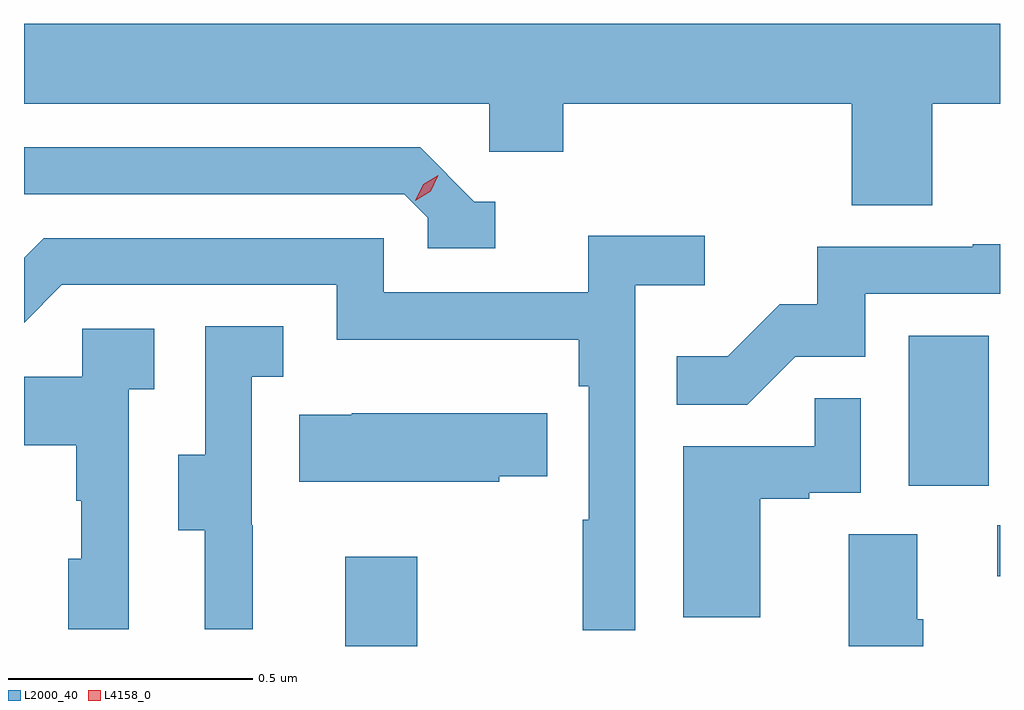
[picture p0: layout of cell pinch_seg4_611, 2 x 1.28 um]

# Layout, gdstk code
import gdstk
lib = gdstk.Library(unit=1e-6, precision=1e-09)
def R(c, l, rs):  # rectangles x0, y0, x1, y1
    for r in rs: c.add(gdstk.rectangle(r[:2], r[2:], *l))
def P(c, l, *ps):  # polygons
    for p in ps: c.add(gdstk.Polygon(p, *l))
L2000_40 = (2000, 40)
L4158_0 = (4158, 0)

pinch_seg4_611 = lib.new_cell('pinch_seg4_611')
R(pinch_seg4_611, L2000_40, [(1061.975,774.397,1062.123,774.58), (1063.311,774.54,1063.317,774.645), (1063.13,774.726,1063.294,775.033)])
P(pinch_seg4_611, L2000_40, [(1063.178,775.508),(1063.317,775.508),(1063.317,775.672),(1061.317,775.672),(1061.317,775.508),(1062.27,775.508),(1062.27,775.41),(1062.422,775.41),(1062.422,775.508),(1063.013,775.508),(1063.013,775.3),(1063.178,775.3)],
  [(1062.283,775.308),(1062.24,775.308),(1062.129,775.419),(1061.317,775.419),(1061.317,775.323),(1062.096,775.323),(1062.144,775.275),(1062.144,775.212),(1062.283,775.212)],
  [(1062.57,775.136),(1062.712,775.136),(1062.712,775.238),(1062.473,775.238),(1062.473,775.122),(1062.054,775.122),(1062.054,775.233),(1061.357,775.233),(1061.317,775.193),(1061.317,775.06),(1061.394,775.137),(1061.958,775.137),(1061.958,775.025),(1062.454,775.025),(1062.454,774.929),(1062.474,774.929),(1062.474,774.656),(1062.462,774.656),(1062.462,774.429),(1062.57,774.429)],
  [(1062.897,774.99),(1063.041,774.99),(1063.041,775.119),(1063.317,775.119),(1063.317,775.22),(1063.261,775.22),(1063.261,775.215),(1062.943,775.215),(1062.943,775.098),(1062.866,775.098),(1062.759,774.991),(1062.655,774.991),(1062.655,774.892),(1062.799,774.892)],
  [(1061.786,774.645),(1061.784,774.645),(1061.784,774.949),(1061.848,774.949),(1061.848,775.052),(1061.688,775.052),(1061.688,774.789),(1061.633,774.789),(1061.633,774.634),(1061.687,774.634),(1061.687,774.432),(1061.786,774.432)],
  [(1061.532,774.923),(1061.584,774.923),(1061.584,775.047),(1061.436,775.047),(1061.436,774.949),(1061.317,774.949),(1061.317,774.809),(1061.424,774.809),(1061.424,774.695),(1061.434,774.695),(1061.434,774.576),(1061.408,774.576),(1061.408,774.432),(1061.532,774.432)],
  [(1062.826,774.699),(1062.926,774.699),(1062.926,774.711),(1063.032,774.711),(1063.032,774.905),(1062.937,774.905),(1062.937,774.807),(1062.668,774.807),(1062.668,774.456),(1062.826,774.456)],
  [(1062.291,774.745),(1062.389,774.745),(1062.389,774.874),(1061.989,774.874),(1061.989,774.871),(1061.881,774.871),(1061.881,774.734),(1062.291,774.734)],
  [(1063.16,774.452),(1063.147,774.452),(1063.147,774.626),(1063.007,774.626),(1063.007,774.397),(1063.16,774.397)])
P(pinch_seg4_611, L4158_0, [(1062.119,775.31),(1062.119,775.31),(1062.135,775.343),(1062.166,775.362),(1062.166,775.362),(1062.166,775.362),(1062.15,775.329),(1062.119,775.31)])

lib.write_gds('pinch_seg4_611.gds')
